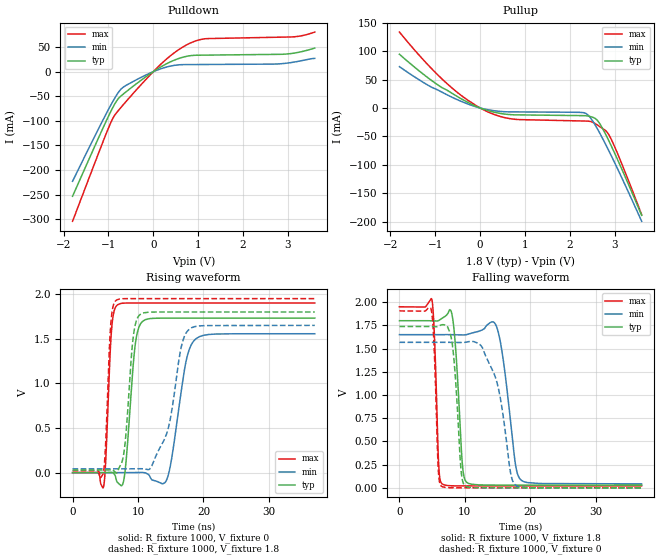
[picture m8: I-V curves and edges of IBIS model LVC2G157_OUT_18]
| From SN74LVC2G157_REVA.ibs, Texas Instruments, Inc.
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[Model]   LVC2G157_OUT_18
Model_type  Output
Vref =   0
Rref =   1000
Cref =   30p
Vmeas =   0.9
| variable   typ   min   max
C_comp   9.75pF   6.40pF   16.44pF
| C_pullup   8.77pF   6.40pF   9.59pF
| C_pulldown   10.72pF   6.80pF   16.44pF
[Temperature Range]   40   100   -40
| Ambient temperature   25   85   -40
[Voltage range]   1.8   1.65   1.95
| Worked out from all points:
|   slope of the pulldown table from 0 to 0.27 V, typ, clamps not added: 18.2 ohm
|   slope of the pullup table from 0 to 0.27 V, typ, clamps not added: 41.2 ohm
|   rising waveform, R_fixture 1000, V_fixture 0: 20-80 % time 1.08ns typ, 1.87ns min, 662ps max; typ from 0 V to 1.73 V
|   falling waveform, R_fixture 1000, V_fixture 1.8: 20-80 % time 847ps typ, 1.56ns min, 513ps max; typ from 1.8 V to 0.029 V
|   rising waveform, R_fixture 1000, V_fixture 1.8: 20-80 % time 1.07ns typ, 2.42ns min, 643ps max; typ from 0.029 V to 1.8 V
|   falling waveform, R_fixture 1000, V_fixture 0: 20-80 % time 931ps typ, 2.37ns min, 533ps max; typ from 1.74 V to 0 V
[Pulldown]
| LVC2G157_OUT_18
|   Voltage   I(typ)   I(min)   I(max)
-1.8V     -253.4mA   -222.8mA   -304.2mA
-980mV    -87.07mA   -73.47mA   -110.5mA
-875mV    -68.23mA   -56.15mA   -90.62mA
-735mV    -50.6mA    -37.06mA   -74.26mA
-610mV    -41.17mA   -28.02mA   -60.94mA
-135mV    -8.478mA   -5.492mA   -12.95mA
420mV     21.51mA    12mA       35.04mA
785mV     31.91mA    14.4mA     56.43mA
1.115V    33.57mA    14.58mA    66.41mA
2.935V    35.63mA    16.87mA    70.3mA
3.265V    39.89mA    21.62mA    72.33mA
3.6V      48.06mA    27.06mA    80.56mA
[Pullup]
| LVC2G157_OUT_18
|   Voltage   I(typ)   I(min)   I(max)
-1.8V     94.5mA     72.68mA    133.5mA
-1.175V   53.82mA    40.63mA    76.83mA
-760mV    32.25mA    24.1mA     44.39mA
-340mV    12.65mA    9.054mA    17.33mA
130mV     -3.487mA   -2.355mA   -5.288mA
770mV     -12mA      -6.834mA   -19.8mA
2.37V     -13.77mA   -10.23mA   -22.97mA
2.47V     -15.35mA   -18.5mA    -23.99mA
2.61V     -21.61mA   -36.15mA   -29.68mA
2.87V     -57.86mA   -75.39mA   -47.16mA
3.125V    -101.6mA   -117.2mA   -91.79mA
3.6V      -188.7mA   -199.1mA   -187.5mA
[Ramp]
| LVC2G157_OUT_18
| variable   typ   min   max
dV/dt_r   1.13/1.16E-09   1.01/2.01E-09   1.24/7.15E-10
dV/dt_f   1.13/9.25E-10   1.05/1.74E-09   1.21/5.49E-10
R_load = 1000
[Rising Waveform]
| LVC2G157_OUT_18
R_fixture =   1000
C_fixture =   0
L_fixture =   0
V_fixture =   0
V_fixture_min = 0
V_fixture_max = 0
|   Time   V(typ)   V(min)   V(max)
0s        120.1pV    8.686nV    653.7pV
4.73ns    -24.61uV   2.139uV    -158.9mV
5.945ns   2.058mV    -14.59uV   1.59V
6.89ns    -111.3mV   -7.333uV   1.882V
7.89ns    -57.35mV   -24.13uV   1.899V
9.515ns   1.397V     820.2uV    1.901V
10.72ns   1.696V     1.974mV    1.901V
14.42ns   1.731V     -73.17mV   1.901V
18.87ns   1.731V     1.501V     1.901V
37ns      1.731V     1.556V     1.901V
[Falling Waveform]
| LVC2G157_OUT_18
R_fixture =   1000
C_fixture =   0
L_fixture =   0
V_fixture =   1.8
V_fixture_min = 1.65
V_fixture_max = 1.95
|   Time   V(typ)   V(min)   V(max)
0s        1.8V       1.65V      1.95V
4.97ns    1.799V     1.65V      2.024V
6.005ns   1.802V     1.65V      237.2mV
6.525ns   1.827V     1.65V      41.74mV
8.135ns   1.824V     1.649V     21.81mV
9.61ns    257.9mV    1.647V     20.66mV
10.3ns    57.99mV    1.651V     20.55mV
14.85ns   29.45mV    1.733V     20.47mV
18.59ns   29.18mV    82.88mV    20.47mV
37ns      29.16mV    42.57mV    20.47mV
[Rising Waveform]
| LVC2G157_OUT_18
R_fixture =   1000
C_fixture =   0
L_fixture =   0
V_fixture =   1.8
V_fixture_min = 1.65
V_fixture_max = 1.95
|   Time   V(typ)   V(min)   V(max)
0s        29.14mV    42.51mV    20.46mV
4.665ns   29.13mV    42.51mV    -14.69mV
5.83ns    30.82mV    42.5mV     1.656V
6.69ns    -6.601mV   42.51mV    1.932V
7.845ns   221.9mV    42.51mV    1.949V
9.24ns    1.501V     42.94mV    1.95V
10.31ns   1.771V     43.6mV     1.95V
14.35ns   1.8V       430.9mV    1.95V
17.82ns   1.8V       1.607V     1.95V
37ns      1.8V       1.65V      1.95V
[Falling Waveform]
| LVC2G157_OUT_18
R_fixture =   1000
C_fixture =   0
L_fixture =   0
V_fixture =   0
V_fixture_min = 0
V_fixture_max = 0
|   Time   V(typ)   V(min)   V(max)
0s        1.738V     1.567V     1.905V
4.86ns    1.738V     1.567V     1.919V
5.93ns    1.739V     1.567V     205.4mV
6.42ns    1.756V     1.567V     17.01mV
8.04ns    1.563V     1.566V     806.9uV
9.395ns   203.7mV    1.566V     125uV
10.02ns   22.19mV    1.567V     59.28uV
14.64ns   124.1uV    1.195V     7.304uV
17.73ns   27.56uV    28.09mV    6.836uV
37ns      15.3uV     40.97uV    5.5uV
